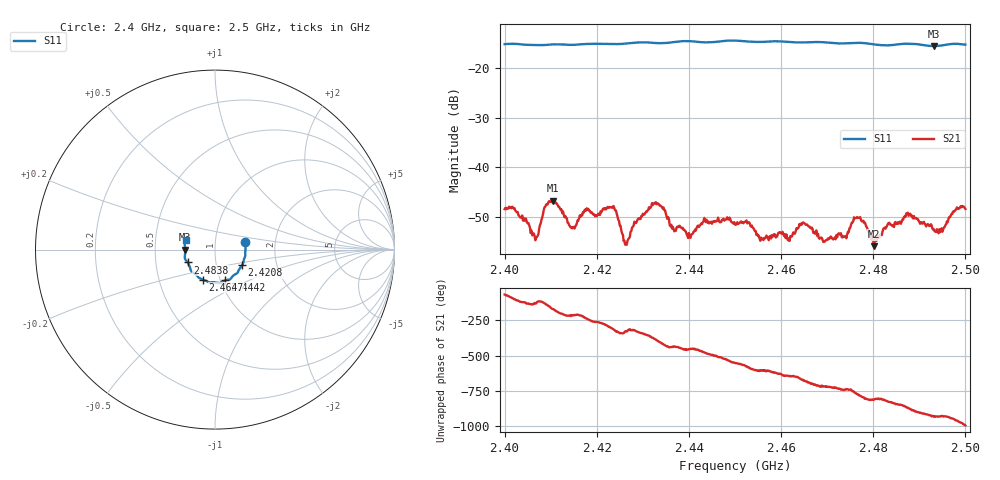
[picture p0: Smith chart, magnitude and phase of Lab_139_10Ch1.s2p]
# Hz S RI R 50
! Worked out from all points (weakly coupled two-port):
!   601 points, 2.4 GHz to 2.5 GHz, reference 50 ohm
!   highest |S21| = -46.67 dB at 2.4105 GHz (marker M1); lowest = -55.8 dB at 2.4802 GHz (marker M2)
!   lowest |S11| = -15.6 dB at 2.4932 GHz (marker M3), VSWR 1.40, Z = 35.8 - j0.0855 ohm
!   |S11| at or under -10 dB: start of sweep to end of sweep
!   S12 and S22 are empty: the file has one direction only
!   S11 on the Smith chart (normalised r, x): 2.4 GHz: 1.40, +0.12; 2.4208 GHz: 1.33, -0.24; 2.4442 GHz: 1.05, -0.37; 2.4647 GHz: 0.83, -0.29; 2.4838 GHz: 0.73, -0.11; 2.5 GHz: 0.72, +0.08
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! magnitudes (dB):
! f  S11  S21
! 2.4 GHz  -15.2  -48.4
! 2.4068 GHz  -15.4  -54.1
! 2.4105 GHz  -15.3  -46.7
! 2.4147 GHz  -15.4  -52.2
! 2.4167 GHz  -15.3  -49.5
! 2.4208 GHz  -15.2  -48.8
! 2.4237 GHz  -15.2  -47.8
! 2.4263 GHz  -15.1  -55.5
! 2.4333 GHz  -15.0  -47.3
! 2.44 GHz  -14.6  -53.2
! 2.4442 GHz  -14.9  -50.8
! 2.45 GHz  -14.5  -51.5
! 2.456 GHz  -14.8  -54.4
! 2.4647 GHz  -14.9  -51.1
! 2.4667 GHz  -14.8  -52.1
! 2.4737 GHz  -15.1  -53.9
! 2.4767 GHz  -15.0  -50.2
! 2.4802 GHz  -15.3  -55.8
! 2.4833 GHz  -15.5  -51.2
! 2.4838 GHz  -15.4  -51.4
! 2.4932 GHz  -15.6  -52.4
! 2.5 GHz  -15.3  -48.3
